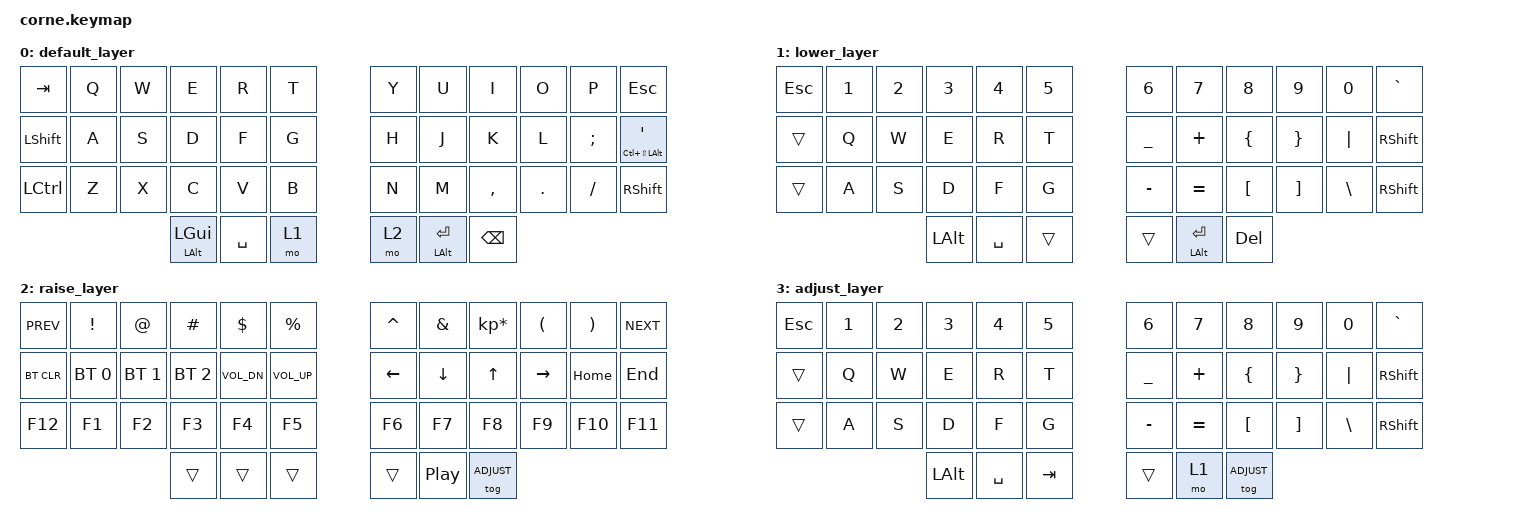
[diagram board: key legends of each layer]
/*
 * Copyright (c) 2020 The ZMK Contributors
 *
 * SPDX-License-Identifier: MIT
 */
#include <behaviors.dtsi>
#include <dt-bindings/zmk/keys.h>
#include <dt-bindings/zmk/bt.h>
#define BASE 0
#define LOWER 1
#define RAISE 2
#define ADJUST 3
/ {
        behaviors {
          tp: tap_preferred {
            compatible = "zmk,behavior-hold-tap";
            label = "TAP_PREFERRED";
            #binding-cells = <2>;
            tapping-term-ms = <150>;
            quick-tap-ms = <0>;
            flavor = "tap-preferred";
            bindings = <&kp>, <&kp>;
          }; 
        };
  // Activate ADJUST layer by pressing raise and lower
    conditional_layers {
        compatible = "zmk,conditional-layers";
        adjust_layer {
            if-layers = <LOWER RAISE>;
            then-layer = <ADJUST>;
        };
    };
        keymap {
                compatible = "zmk,keymap";

                default_layer {
// --------------------------------------------------------------------------------------------
// | TAB  |  Q  |  W  |  E  |  R  |    T    |   |  Y  |  U   |  I  |  O  |  P  | ESC |
// | SHFT |  A  |  S  |  D  |  F  |    G    |   |  H  |  J   |  K  |  L  |  ;  |  '   |
// | CTRL |  Z  |  X  |  C  |  V  |    B    |   |  N  |  M   |  ,  |  .  |  /  | SHFT |
//                    | GUI | LWR | ALT/ENT |   | HYPER/SPC | BKSP  | RSE |
                        bindings = <
   &kp TAB   &kp Q &kp W &kp E &kp R &kp T        &kp Y &kp U  &kp I     &kp O   &kp P    &kp ESC
   &kp LSHFT &kp A &kp S &kp D &kp F &kp G        &kp H &kp J  &kp K     &kp L   &kp SEMI &tp LC(LS(LALT)) SQT
   &kp LCTRL &kp Z &kp X &kp C &kp V &kp B        &kp N &kp M  &kp COMMA &kp DOT &kp FSLH &kp RSHFT 
          &tp LALT LGUI  &kp SPACE  &mo 1          &mo 2   &tp LALT RET   &kp BSPC
                        >;
                };
                lower_layer  {
// -----------------------------------------------------------------------------------------
// | ESC |  1  |  2  |  3  |  4  |    5     |   |  6  |  7  |  8  |  9  | 0   | `~   |
// |     |  Q  |  W  |  E  |  R  |    T     |   |  _  |  +  |  {  |  }  | "|" | SHFT |
// |     |  A  |  S  |  D  |  F  |    G     |   |  -  |  =  |  [  |  ]  |  \  | SHFT |
//                     | GUI |     | ALT/ENT |   | HYPER/SPACE | BKSP |    |
                        bindings = <
   &kp ESC    &kp N1   &kp N2 &kp N3   &kp N4   &kp N5      &kp N6     &kp N7    &kp N8          &kp N9   &kp N0    &kp GRAVE
   &trans     &kp Q    &kp W  &kp E    &kp R    &kp T       &kp UNDER  &kp PLUS  &kp LBRC        &kp RBRC &kp PIPE  &kp RSHFT
   &trans     &kp A    &kp S  &kp D    &kp F    &kp G       &kp MINUS  &kp EQUAL &kp LBKT        &kp RBKT &kp BSLH  &kp RSHFT
                         &kp LALT   &kp SPACE &trans       &trans  &tp LALT RET &kp DEL 
                        >;
                };
                raise_layer  {
// -----------------------------------------------------------------------------------------
// | Prev  |  !   |  @   |  #   |  $   |  %  |            |  ^  |  &  |  *  |  (  |  )  | Next  |
// | BTCLR | BT1  | BT2  | BT3  |Vol-  |Vol+ |            | LFT | DWN |  UP | RGT | HOME|  END  |
// |  F12  |  F1  |  F2  |  F3  |  F4  |  F5 |            | F6  | F7  | F8  | F9  | F10 |  F11  |
//                    |     |     |    |                  |   Play/Pause   |     |     |
                        bindings = <
   &kp C_PREV     &kp EXCL      &kp AT       &kp HASH      &kp DLLR     &kp PRCNT       &kp CARET  &kp AMPS  &kp KP_MULTIPLY &kp LPAR    &kp RPAR    &kp C_NEXT  
   &bt BT_CLR     &bt BT_SEL 0  &bt BT_SEL 1 &bt BT_SEL 2  &kp C_VOL_DN &kp C_VOL_UP    &kp LEFT   &kp DOWN  &kp UP          &kp RIGHT   &kp HOME    &kp END
   &kp F12        &kp F1        &kp F2       &kp F3       &kp F4       &kp F5           &kp F6     &kp F7    &kp F8          &kp F9      &kp F10     &kp F11
                          	                        &trans   &trans   &trans        &trans &kp C_PP   &tog ADJUST
                        >;
                };
         adjust_layer  {
// -----------------------------------------------------------------------------------------
// | ESC |  1  |  2  |  3  |  4  |    5     |   |  6  |  7  |  8  |  9  | 0   | `~   |
// |     |  Q  |  W  |  E  |  R  |    T     |   |  _  |  +  |  {  |  }  | "|" | SHFT |
// |     |  A  |  S  |  D  |  F  |    G     |   |  -  |  =  |  [  |  ]  |  \  | SHFT |
//                     | GUI |     | ALT/ENT |   | HYPER/SPACE | BKSP |    |
                        bindings = <
   &kp ESC    &kp N1   &kp N2 &kp N3   &kp N4   &kp N5      &kp N6     &kp N7       &kp N8          &kp N9   &kp N0    &kp GRAVE
   &trans     &kp Q    &kp W  &kp E    &kp R    &kp T       &kp UNDER  &kp PLUS     &kp LBRC        &kp RBRC &kp PIPE  &kp RSHFT
   &trans     &kp A    &kp S  &kp D    &kp F    &kp G       &kp MINUS  &kp EQUAL    &kp LBKT        &kp RBKT &kp BSLH  &kp RSHFT
                         &kp LALT   &kp SPACE   &kp TAB     &trans     &mo 1    &tog ADJUST
                        >;
                };
        };
};
